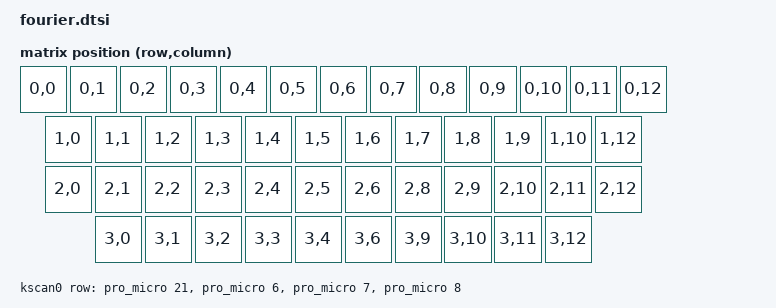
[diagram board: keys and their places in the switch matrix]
/*
 * Copyright (c) 2021 The ZMK Contributors
 *
 * SPDX-License-Identifier: MIT
 */

#include <dt-bindings/zmk/matrix_transform.h>

/ {
	chosen {
		zmk,kscan = &kscan0;
		zmk,matrix_transform = &default_transform;
	};

	/*
	 * This transform correspondsto the 60% left without macro keypad and 65% right, even this
	 * combination of PCBs can have keys in different locations based on configuration.
	 */
	default_transform: keymap_transform_0 {
		compatible = "zmk,matrix-transform";
		columns = <13>;
		rows = <4>;
		map = <
RC(0,0) RC(0,1) RC(0,2) RC(0,3) RC(0,4) RC(0,5)      /**/  RC(0,6) RC(0,7) RC(0,8) RC(0,9) RC(0,10) RC(0, 11) RC(0,12)
RC(1,0)   RC(1,1) RC(1,2) RC(1,3) RC(1,4) RC(1,5)    /**/  RC(1,6) RC(1,7) RC(1,8) RC(1,9) RC(1,10) RC(1,12)
RC(2,0)     RC(2,1) RC(2,2) RC(2,3) RC(2,4) RC(2,5)  /**/    RC(2,6) RC(2,8) RC(2,9) RC(2,10) RC(2,11) RC(2,12)
RC(3,0)   RC(3,1) RC(3,2) RC(3,3) RC(3,4)            /**/  RC(3,6)        RC(3,9)  RC(3,10)  RC(3,11)  RC(3,12)
		>;
	};

	kscan0: kscan {
		compatible = "zmk,kscan-gpio-matrix";
		label = "KSCAN";

		diode-direction = "col2row";
		row-gpios
			= <&pro_micro 21 (GPIO_ACTIVE_HIGH | GPIO_PULL_DOWN)>  // Row A
			, <&pro_micro 6 (GPIO_ACTIVE_HIGH | GPIO_PULL_DOWN)>   // Row B
			, <&pro_micro 7 (GPIO_ACTIVE_HIGH | GPIO_PULL_DOWN)>   // Row C
			, <&pro_micro 8 (GPIO_ACTIVE_HIGH | GPIO_PULL_DOWN)>   // Row D
			;
	};
};
